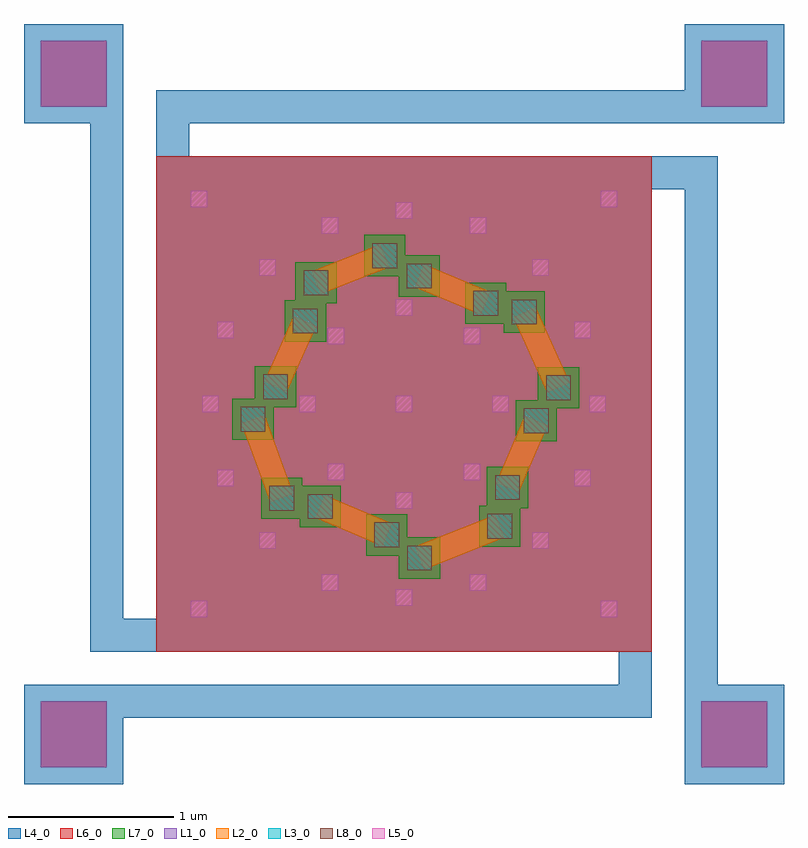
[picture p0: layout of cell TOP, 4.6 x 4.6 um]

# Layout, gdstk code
import gdstk
lib = gdstk.Library(unit=1e-6, precision=1e-09)
def R(c, l, rs):  # rectangles x0, y0, x1, y1
    for r in rs: c.add(gdstk.rectangle(r[:2], r[2:], *l))
def A(c, l, x, y, w, h, nx, ny, dx, dy):  # array of equal rectangles
    R(c, l, [(x+i*dx, y+j*dy, x+i*dx+w, y+j*dy+h) for i in range(nx) for j in range(ny)])
def P(c, l, *ps):  # polygons
    for p in ps: c.add(gdstk.Polygon(p, *l))
L1_0 = (1, 0)
L2_0 = (2, 0)
L3_0 = (3, 0)
L4_0 = (4, 0)
L5_0 = (5, 0)
L6_0 = (6, 0)
L7_0 = (7, 0)
L8_0 = (8, 0)

top = lib.new_cell('TOP')
R(top, L1_0, [(-2.2,-2.2,-1.8,-1.8), (1.8,-2.2,2.2,-1.8), (-2.2,1.8,-1.8,2.2), (1.8,1.8,2.2,2.2)])
P(top, L2_0, [(-0.81,-0.595),(-0.984,-0.118),(-0.844,-0.067),(-0.67,-0.544)],
  [(-0.133,-0.861),(-0.536,-0.689),(-0.477,-0.551),(-0.074,-0.723)],
  [(0.123,-1.002),(0.068,-0.862),(0.551,-0.67),(0.606,-0.81)],
  [(0.696,-0.535),(0.558,-0.476),(0.732,-0.071),(0.87,-0.13)],
  [(0.867,0.067),(0.66,0.525),(0.797,0.587),(1.004,0.129)],
  [(0.466,0.541),(0.065,0.706),(0.122,0.845),(0.523,0.68)],
  [(-0.504,0.664),(-0.559,0.804),(-0.144,0.968),(-0.089,0.828)],
  [(-0.71,0.074),(-0.846,0.136),(-0.666,0.534),(-0.53,0.472)])
R(top, L3_0, [(0.019,-1.007,0.169,-0.857), (-0.179,-0.867,-0.029,-0.717), (0.504,-0.815,0.654,-0.665), (-0.582,-0.696,-0.432,-0.546), (-0.815,-0.645,-0.665,-0.495), (0.552,-0.581,0.702,-0.431), (0.726,-0.176,0.876,-0.026), (-0.989,-0.167,-0.839,-0.017), (0.86,0.023,1.01,0.173), (-0.853,0.029,-0.703,0.179), (-0.672,0.428,-0.522,0.578), (0.653,0.482,0.803,0.632), (0.42,0.535,0.57,0.685), (-0.607,0.659,-0.457,0.809), (0.017,0.7,0.167,0.85), (-0.191,0.823,-0.041,0.973)])
P(top, L4_0, [(-2.3,-2.3),(-2.3,-1.7),(1.3,-1.7),(1.3,-1.5),(-1.9,-1.5),(-1.9,1.7),(-2.3,1.7),(-2.3,2.3),(-1.7,2.3),(-1.7,-1.3),(-1.5,-1.3),(-1.5,1.9),(1.7,1.9),(1.7,2.3),(2.3,2.3),(2.3,1.7),(-1.3,1.7),(-1.3,1.5),(1.9,1.5),(1.9,-1.7),(2.3,-1.7),(2.3,-2.3),(1.7,-2.3),(1.7,1.3),(1.5,1.3),(1.5,-1.9),(-1.7,-1.9),(-1.7,-2.3)])
A(top, L5_0, -1.22, -0.05, 0.1, 0.1, 5, 1, 0.585, 0)
R(top, L5_0, [(-1.29,-1.29,-1.19,-1.19), (1.19,-1.29,1.29,-1.19), (-0.05,-1.22,0.05,-1.12), (-0.497,-1.13,-0.397,-1.03), (0.397,-1.13,0.497,-1.03), (-0.877,-0.877,-0.777,-0.777), (0.777,-0.877,0.877,-0.777), (-0.05,-0.635,0.05,-0.535), (-1.13,-0.497,-1.03,-0.397), (1.03,-0.497,1.13,-0.397), (-0.463,-0.463,-0.363,-0.363), (0.363,-0.463,0.463,-0.363), (-0.463,0.363,-0.363,0.463), (0.363,0.363,0.463,0.463), (-1.13,0.397,-1.03,0.497), (1.03,0.397,1.13,0.497), (-0.05,0.535,0.05,0.635), (-0.877,0.777,-0.777,0.877), (0.777,0.777,0.877,0.877), (-0.497,1.03,-0.397,1.13), (0.397,1.03,0.497,1.13), (-0.05,1.12,0.05,1.22), (-1.29,1.19,-1.19,1.29), (1.19,1.19,1.29,1.29)])
R(top, L6_0, [(-2.2,-2.2,-1.8,-1.8), (1.8,-2.2,2.2,-1.8), (-1.5,-1.5,1.5,1.5), (-2.2,1.8,-1.8,2.2), (1.8,1.8,2.2,2.2)])
R(top, L7_0, [(-0.031,-1.057,0.219,-0.807), (-0.229,-0.917,0.021,-0.667), (0.454,-0.865,0.704,-0.615), (-0.632,-0.746,-0.382,-0.496), (-0.865,-0.695,-0.615,-0.445), (0.502,-0.631,0.752,-0.381), (0.676,-0.226,0.926,0.024), (-1.039,-0.217,-0.789,0.033), (0.81,-0.027,1.06,0.223), (-0.903,-0.021,-0.653,0.229), (-0.722,0.378,-0.472,0.628), (0.603,0.432,0.853,0.682), (0.37,0.485,0.62,0.735), (-0.657,0.609,-0.407,0.859), (-0.033,0.65,0.217,0.9), (-0.241,0.773,0.009,1.023)])
R(top, L8_0, [(0.019,-1.007,0.169,-0.857), (-0.179,-0.867,-0.029,-0.717), (0.504,-0.815,0.654,-0.665), (-0.582,-0.696,-0.432,-0.546), (-0.815,-0.645,-0.665,-0.495), (0.552,-0.581,0.702,-0.431), (0.726,-0.176,0.876,-0.026), (-0.989,-0.167,-0.839,-0.017), (0.86,0.023,1.01,0.173), (-0.853,0.029,-0.703,0.179), (-0.672,0.428,-0.522,0.578), (0.653,0.482,0.803,0.632), (0.42,0.535,0.57,0.685), (-0.607,0.659,-0.457,0.809), (0.017,0.7,0.167,0.85), (-0.191,0.823,-0.041,0.973)])

lib.write_gds('TOP.gds')
